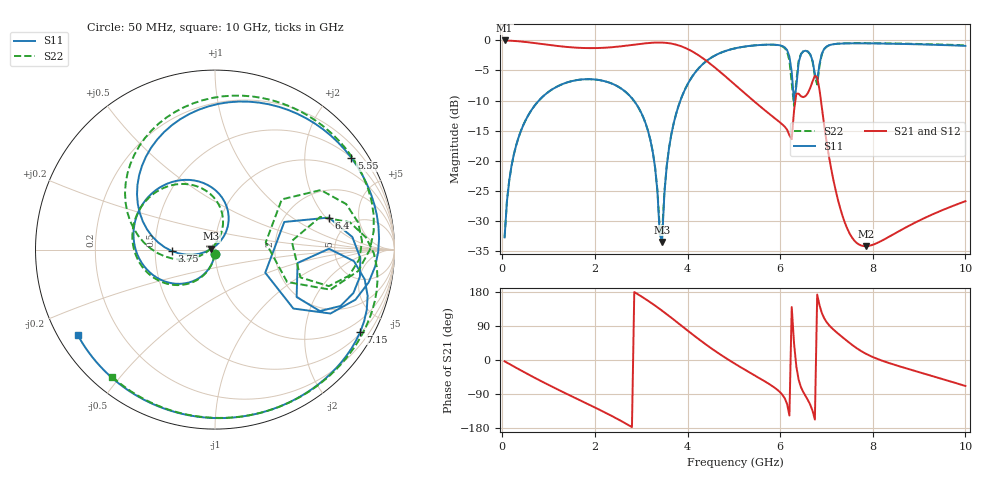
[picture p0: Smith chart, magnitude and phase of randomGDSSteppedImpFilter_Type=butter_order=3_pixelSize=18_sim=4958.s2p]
! freq	dB(S11)	phase(S11)	dB(S12)	phase(S12)
!  dB(S21)	phase(S21)	dB(S22)	phase(S22)
!S-par simulation data
#  GHz  S  DB  R 50
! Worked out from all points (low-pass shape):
!   200 points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, 50 MHz to 10 GHz, reference 50 ohm
!   highest |S21| = -0.01 dB at 50 MHz (marker M1); lowest = -34.2 dB at 7.85 GHz (marker M2)
!   |S21| within 3 dB of the highest: start of sweep to 4.338 GHz
!   lowest |S11| = -33.5 dB at 3.45 GHz (marker M3), VSWR 1.04, Z = 48 + j0.419 ohm
!   |S11| at or under -10 dB: start of sweep to 790.8 MHz; 2.838 GHz to 3.846 GHz (1.008 GHz wide, 30.2 % of centre); 6.297786 GHz to 6.30424 GHz (6.454 MHz wide, 0.102 % of centre)
!   |S22| runs from -32.8 to -0.5 dB; largest |S21 - S12| = 0
!   S11 on the Smith chart (normalised r, x): 50 MHz: 1.00, -0.05; 3.75 GHz: 0.61, -0.01; 5.55 GHz: 0.51, +3.20; 6.4 GHz: 3.42, +2.16; 7.15 GHz: 0.55, -3.73; 10 GHz: 0.06, -0.29
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0.05  -32.77 -93.5  -0.01 -3.5  -0.01 -3.5  -32.77 -93.3
0.2  -20.84 -104.3  -0.06 -13.8  -0.06 -13.8  -20.84 -103.8
0.5  -13.33 -125.1  -0.25 -33.9  -0.25 -33.9  -13.33 -123.7
1.75  -6.47 156.5  -1.26 -110.5  -1.26 -110.5  -6.47 161.7
3  -12.04 75.1  -0.56 168.0  -0.56 168.0  -12.04 84.9
3.25  -18.58 58.2  -0.38 147.7  -0.38 147.7  -18.55 70.1
3.4  -32.23 74.2  -0.35 134.7  -0.35 134.7  -31.26 92.6
3.45  -33.51 168.1  -0.36 130.2  -0.36 130.2  -32.14 171.4
3.55  -20.99 -165.0  -0.42 121.0  -0.42 121.0  -20.88 -157.2
3.75  -12.31 -178.3  -0.70 102.0  -0.70 102.0  -12.29 -168.1
4.35  -3.80 126.5  -3.07 45.1  -3.07 45.1  -3.80 139.1
5.05  -1.27 69.6  -7.54 -11.9  -7.54 -11.9  -1.28 83.5
5.55  -0.77 33.9  -10.86 -47.8  -10.86 -47.8  -0.77 48.0
6.2  -2.67 -29.0  -15.78 -146.4  -15.78 -146.4  -3.34 -19.1
6.3  -10.22 -24.7  -11.68 43.8  -11.68 43.8  -10.89 8.0
6.4  -3.62 15.7  -8.87 -52.5  -8.87 -52.5  -3.40 29.4
6.7  -3.38 -30.4  -6.82 -134.2  -6.82 -134.2  -3.53 -17.8
6.85  -3.94 0.4  -8.21 144.4  -8.21 144.4  -4.23 17.3
7.15  -0.63 -29.4  -23.23 80.4  -23.23 80.4  -0.63 -14.5
7.85  -0.48 -65.9  -34.22 16.6  -34.22 16.6  -0.45 -51.6
8.35  -0.54 -86.6  -32.67 -8.0  -32.67 -8.0  -0.49 -72.0
10  -0.91 -148.1  -26.75 -68.5  -26.75 -68.5  -0.81 -128.8
